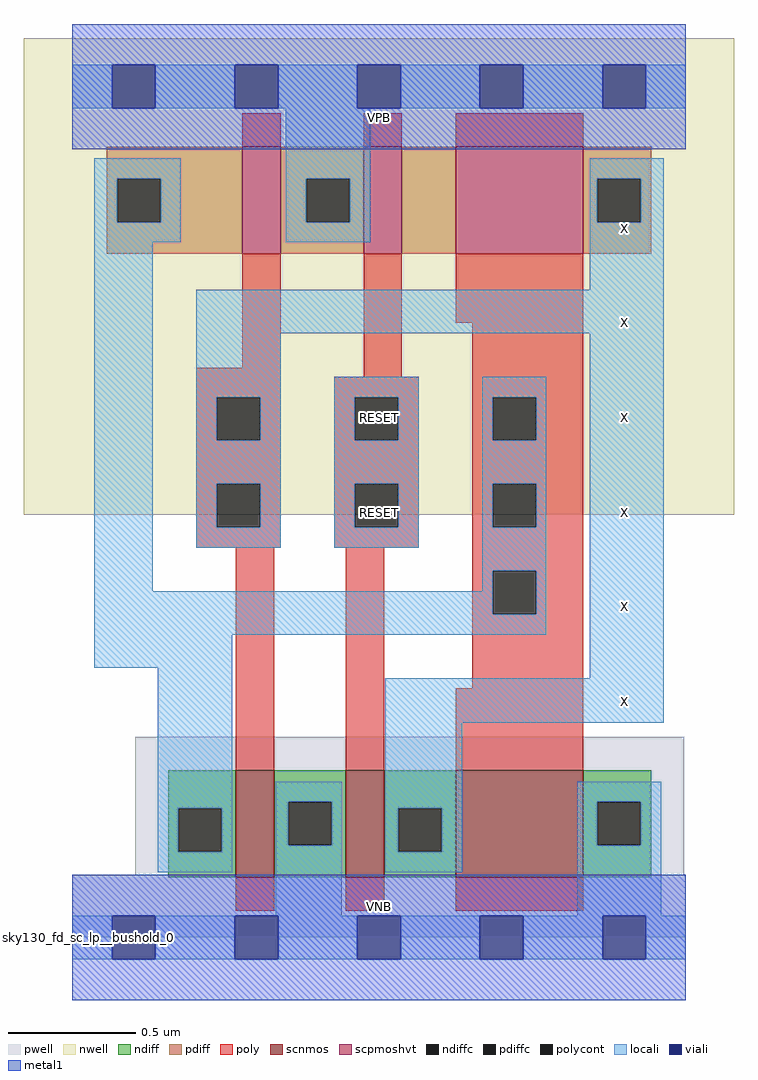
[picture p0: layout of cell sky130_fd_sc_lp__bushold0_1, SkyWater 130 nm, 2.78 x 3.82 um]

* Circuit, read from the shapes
.subckt sky130_fd_sc_lp__bushold0_1 RESET VGND VNB VPB VPWR X
XM1 VGND X n1 VNB sky130_fd_pr__nfet_01v8 w=0.42 l=0.15
XM2 X RESET VGND VNB sky130_fd_pr__nfet_01v8 w=0.42 l=0.15
XM3 VGND n1 X VNB sky130_fd_pr__nfet_01v8 w=0.42 l=0.5
XM4 VPWR X n1 VPB sky130_fd_pr__pfet_01v8_hvt w=0.42 l=0.15
XM5 n2 RESET VPWR VPB sky130_fd_pr__pfet_01v8_hvt w=0.42 l=0.15
XM6 X n1 n2 VPB sky130_fd_pr__pfet_01v8_hvt w=0.42 l=0.5
.ends

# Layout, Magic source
magic
tech sky130A
magscale 1 2
<< nwell >>
rect -38 331 518 704
<< pwell >>
rect 49 49 479 157
rect 0 0 480 49
<< scnmos >>
rect 128 47 158 131
rect 214 47 244 131
rect 300 47 400 131
<< scpmoshvt >>
rect 133 535 163 619
rect 228 535 258 619
rect 300 535 400 619
<< ndiff >>
rect 75 101 128 131
rect 75 67 83 101
rect 117 67 128 101
rect 75 47 128 67
rect 158 106 214 131
rect 158 72 169 106
rect 203 72 214 106
rect 158 47 214 72
rect 244 101 300 131
rect 244 67 255 101
rect 289 67 300 101
rect 244 47 300 67
rect 400 106 453 131
rect 400 72 411 106
rect 445 72 453 106
rect 400 47 453 72
<< pdiff >>
rect 27 594 133 619
rect 27 560 35 594
rect 69 560 133 594
rect 27 535 133 560
rect 163 594 228 619
rect 163 560 183 594
rect 217 560 228 594
rect 163 535 228 560
rect 258 535 300 619
rect 400 594 453 619
rect 400 560 411 594
rect 445 560 453 594
rect 400 535 453 560
<< ndiffc >>
rect 83 67 117 101
rect 169 72 203 106
rect 255 67 289 101
rect 411 72 445 106
<< pdiffc >>
rect 35 560 69 594
rect 183 560 217 594
rect 411 560 445 594
<< poly >>
rect 133 619 163 645
rect 228 619 258 645
rect 300 619 400 645
rect 133 446 163 535
rect 97 423 163 446
rect 228 439 258 535
rect 300 481 400 535
rect 97 389 113 423
rect 147 389 163 423
rect 97 355 163 389
rect 97 321 113 355
rect 147 321 163 355
rect 97 305 163 321
rect 205 423 271 439
rect 205 389 221 423
rect 255 389 271 423
rect 205 355 271 389
rect 205 321 221 355
rect 255 321 271 355
rect 205 305 271 321
rect 313 423 400 481
rect 313 389 329 423
rect 363 389 400 423
rect 313 355 400 389
rect 313 321 329 355
rect 363 321 400 355
rect 128 131 158 305
rect 214 131 244 305
rect 313 287 400 321
rect 313 253 329 287
rect 363 253 400 287
rect 313 195 400 253
rect 300 131 400 195
rect 128 21 158 47
rect 214 21 244 47
rect 300 21 400 47
<< polycont >>
rect 113 389 147 423
rect 113 321 147 355
rect 221 389 255 423
rect 221 321 255 355
rect 329 389 363 423
rect 329 321 363 355
rect 329 253 363 287
<< locali >>
rect 0 649 31 683
rect 65 649 127 683
rect 161 649 223 683
rect 257 649 319 683
rect 353 649 415 683
rect 449 649 480 683
rect 17 594 85 610
rect 17 560 35 594
rect 69 560 85 594
rect 17 544 85 560
rect 167 594 233 649
rect 167 560 183 594
rect 217 560 233 594
rect 167 544 233 560
rect 405 594 463 610
rect 405 560 411 594
rect 445 560 463 594
rect 17 271 63 544
rect 405 507 463 560
rect 97 473 463 507
rect 97 423 163 473
rect 97 389 113 423
rect 147 389 163 423
rect 97 355 163 389
rect 97 321 113 355
rect 147 321 163 355
rect 97 305 163 321
rect 205 423 271 439
rect 205 389 221 423
rect 255 389 271 423
rect 205 355 271 389
rect 205 321 221 355
rect 255 321 271 355
rect 205 305 271 321
rect 321 423 371 439
rect 321 389 329 423
rect 363 389 371 423
rect 321 355 371 389
rect 321 321 329 355
rect 363 321 371 355
rect 321 287 371 321
rect 321 271 329 287
rect 17 253 329 271
rect 363 253 371 287
rect 17 237 371 253
rect 17 211 125 237
rect 67 101 125 211
rect 405 203 463 473
rect 245 168 463 203
rect 67 67 83 101
rect 117 67 125 101
rect 67 51 125 67
rect 159 106 211 122
rect 159 72 169 106
rect 203 72 211 106
rect 159 17 211 72
rect 245 101 305 168
rect 245 67 255 101
rect 289 67 305 101
rect 245 51 305 67
rect 395 106 461 122
rect 395 72 411 106
rect 445 72 461 106
rect 395 17 461 72
rect 0 -17 31 17
rect 65 -17 127 17
rect 161 -17 223 17
rect 257 -17 319 17
rect 353 -17 415 17
rect 449 -17 480 17
<< viali >>
rect 31 649 65 683
rect 127 649 161 683
rect 223 649 257 683
rect 319 649 353 683
rect 415 649 449 683
rect 31 -17 65 17
rect 127 -17 161 17
rect 223 -17 257 17
rect 319 -17 353 17
rect 415 -17 449 17
<< metal1 >>
rect 0 683 480 715
rect 0 649 31 683
rect 65 649 127 683
rect 161 649 223 683
rect 257 649 319 683
rect 353 649 415 683
rect 449 649 480 683
rect 0 617 480 649
rect 0 17 480 49
rect 0 -17 31 17
rect 65 -17 127 17
rect 161 -17 223 17
rect 257 -17 319 17
rect 353 -17 415 17
rect 449 -17 480 17
rect 0 -49 480 -17
<< labels >>
flabel pwell s 0 0 480 49 0 FreeSans 200 0 0 0 VNB
port 3 nsew ground bidirectional
flabel nwell s 0 617 480 666 0 FreeSans 200 0 0 0 VPB
port 4 nsew power bidirectional
rlabel comment s 0 0 0 0 4 sky130_fd_sc_lp__bushold_0
flabel metal1 s 0 617 480 666 0 FreeSans 340 0 0 0 VPWR
port 5 nsew power bidirectional
flabel metal1 s 0 0 480 49 0 FreeSans 340 0 0 0 VGND
port 2 nsew ground bidirectional
flabel locali s 415 168 449 202 0 FreeSans 340 0 0 0 X
port 6 nsew signal bidirectional
flabel locali s 415 242 449 276 0 FreeSans 340 0 0 0 X
port 6 nsew signal bidirectional
flabel locali s 415 316 449 350 0 FreeSans 340 0 0 0 X
port 6 nsew signal bidirectional
flabel locali s 415 390 449 424 0 FreeSans 340 0 0 0 X
port 6 nsew signal bidirectional
flabel locali s 415 464 449 498 0 FreeSans 340 0 0 0 X
port 6 nsew signal bidirectional
flabel locali s 415 538 449 572 0 FreeSans 340 0 0 0 X
port 6 nsew signal bidirectional
flabel locali s 223 316 257 350 0 FreeSans 200 0 0 0 RESET
port 1 nsew signal input
flabel locali s 223 390 257 424 0 FreeSans 200 0 0 0 RESET
port 1 nsew signal input
<< properties >>
string LEFsite unit
string LEFclass CORE
string FIXED_BBOX 0 0 480 666
string GDS_FILE $PDKPATH/libs.ref/sky130_fd_sc_lp/gds/sky130_fd_sc_lp.gds
string LEFsymmetry X Y
string GDS_END 537532
string GDS_START 532660
<< end >>
